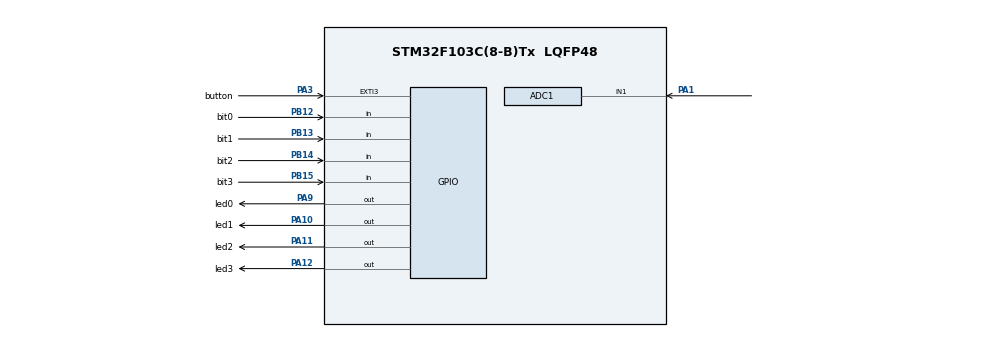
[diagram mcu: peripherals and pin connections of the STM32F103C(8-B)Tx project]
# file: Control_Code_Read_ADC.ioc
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ADC1.Channel-76\#ChannelRegularConversion=ADC_CHANNEL_1
ADC1.Channel-88\#ChannelRegularConversion=ADC_CHANNEL_1
ADC1.Channel-89\#ChannelRegularConversion=ADC_CHANNEL_1
ADC1.ContinuousConvMode=DISABLE
ADC1.DataAlign=ADC_DATAALIGN_RIGHT
ADC1.DiscontinuousConvMode=DISABLE
ADC1.EnableAnalogWatchDog=false
ADC1.EnableRegularConversion=ENABLE
ADC1.ExternalTrigConv=ADC_SOFTWARE_START
ADC1.InjNumberOfConversion=0
ADC1.NbrOfConversion=1
ADC1.NbrOfConversionFlag=1
ADC1.Rank-76\#ChannelRegularConversion=1
ADC1.Rank-88\#ChannelRegularConversion=1
ADC1.Rank-89\#ChannelRegularConversion=1
ADC1.SamplingTime-76\#ChannelRegularConversion=ADC_SAMPLETIME_41CYCLES_5
ADC1.SamplingTime-88\#ChannelRegularConversion=ADC_SAMPLETIME_1CYCLE_5
ADC1.SamplingTime-89\#ChannelRegularConversion=ADC_SAMPLETIME_1CYCLE_5
ADC1.ScanConvMode=ADC_SCAN_DISABLE
ADC1.master=1
Mcu.Family=STM32F1
Mcu.Name=STM32F103C(8-B)Tx
Mcu.Package=LQFP48
NVIC.ADC1_2_IRQn=true\:0\:0\:false\:false\:true\:true
NVIC.EXTI3_IRQn=true\:0\:0\:false\:false\:true\:true
NVIC.PriorityGroup=NVIC_PRIORITYGROUP_4
PA1.Signal=ADCx_IN1
PA10.GPIO_Label=led1
PA10.GPIO_ModeDefaultOutputPP=GPIO_MODE_OUTPUT_PP
PA10.GPIO_Speed=GPIO_SPEED_FREQ_LOW
PA10.PinState=GPIO_PIN_RESET
PA10.Signal=GPIO_Output
PA11.GPIO_Label=led2
PA11.GPIO_ModeDefaultOutputPP=GPIO_MODE_OUTPUT_PP
PA11.GPIO_Speed=GPIO_SPEED_FREQ_LOW
PA11.PinState=GPIO_PIN_RESET
PA11.Signal=GPIO_Output
PA12.GPIO_Label=led3
PA12.GPIO_ModeDefaultOutputPP=GPIO_MODE_OUTPUT_PP
PA12.GPIO_Speed=GPIO_SPEED_FREQ_LOW
PA12.PinState=GPIO_PIN_RESET
PA12.Signal=GPIO_Output
PA13.Mode=Serial_Wire
PA13.Signal=SYS_JTMS-SWDIO
PA14.Mode=Serial_Wire
PA14.Signal=SYS_JTCK-SWCLK
PA3.GPIO_Label=button
PA3.Signal=GPXTI3
PA9.GPIO_Label=led0
PA9.GPIO_ModeDefaultOutputPP=GPIO_MODE_OUTPUT_PP
PA9.GPIO_Speed=GPIO_SPEED_FREQ_LOW
PA9.PinState=GPIO_PIN_RESET
PA9.Signal=GPIO_Output
PB12.GPIO_Label=bit0
PB12.GPIO_Mode=GPIO_MODE_INPUT
PB12.GPIO_PuPd=GPIO_NOPULL
PB12.Signal=GPIO_Input
PB13.GPIO_Label=bit1
PB13.GPIO_Mode=GPIO_MODE_INPUT
PB13.GPIO_PuPd=GPIO_NOPULL
PB13.Signal=GPIO_Input
PB14.GPIO_Label=bit2
PB14.GPIO_Mode=GPIO_MODE_INPUT
PB14.GPIO_PuPd=GPIO_NOPULL
PB14.Signal=GPIO_Input
PB15.GPIO_Label=bit3
PB15.GPIO_Mode=GPIO_MODE_INPUT
PB15.GPIO_PuPd=GPIO_NOPULL
PB15.Signal=GPIO_Input
PD0-OSC_IN.Mode=HSE-External-Oscillator
PD0-OSC_IN.Signal=RCC_OSC_IN
PD1-OSC_OUT.Mode=HSE-External-Oscillator
PD1-OSC_OUT.Signal=RCC_OSC_OUT
ProjectManager.HeapSize=0x200
ProjectManager.StackSize=0x400
ProjectManager.TargetToolchain=MDK-ARM V5
RCC.APB1Freq_Value=8000000
RCC.APB2Freq_Value=8000000
RCC.PLLSourceVirtual=RCC_PLLSOURCE_HSE
RCC.SYSCLKSource=RCC_SYSCLKSOURCE_HSE
RCC.USBFreq_Value=16000000
SH.ADCx_IN1.0=ADC1_IN1,IN1
board=Control_Code_Read_ADC

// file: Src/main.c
/**
  ******************************************************************************
  * File Name          : main.c
  * Description        : Main program body
  ******************************************************************************
  ** This notice applies to any and all portions of this file
  * that are not between comment pairs USER CODE BEGIN and
  * USER CODE END. Other portions of this file, whether
  * inserted by the user or by software development tools
  * are owned by their respective copyright owners.
  *
  * COPYRIGHT(c) 2020 STMicroelectronics
  *
  * Redistribution and use in source and binary forms, with or without modification,
  * are permitted provided that the following conditions are met:
  *   1. Redistributions of source code must retain the above copyright notice,
  *      this list of conditions and the following disclaimer.
  *   2. Redistributions in binary form must reproduce the above copyright notice,
  *      this list of conditions and the following disclaimer in the documentation
  *      and/or other materials provided with the distribution.
  *   3. Neither the name of STMicroelectronics nor the names of its contributors
  *      may be used to endorse or promote products derived from this software
  *      without specific prior written permission.
  *
  * THIS SOFTWARE IS PROVIDED BY THE COPYRIGHT HOLDERS AND CONTRIBUTORS "AS IS"
  * AND ANY EXPRESS OR IMPLIED WARRANTIES, INCLUDING, BUT NOT LIMITED TO, THE
  * IMPLIED WARRANTIES OF MERCHANTABILITY AND FITNESS FOR A PARTICULAR PURPOSE ARE
  * DISCLAIMED. IN NO EVENT SHALL THE COPYRIGHT HOLDER OR CONTRIBUTORS BE LIABLE
  * FOR ANY DIRECT, INDIRECT, INCIDENTAL, SPECIAL, EXEMPLARY, OR CONSEQUENTIAL
  * DAMAGES (INCLUDING, BUT NOT LIMITED TO, PROCUREMENT OF SUBSTITUTE GOODS OR
  * SERVICES; LOSS OF USE, DATA, OR PROFITS; OR BUSINESS INTERRUPTION) HOWEVER
  * CAUSED AND ON ANY THEORY OF LIABILITY, WHETHER IN CONTRACT, STRICT LIABILITY,
  * OR TORT (INCLUDING NEGLIGENCE OR OTHERWISE) ARISING IN ANY WAY OUT OF THE USE
  * OF THIS SOFTWARE, EVEN IF ADVISED OF THE POSSIBILITY OF SUCH DAMAGE.
  *
  ******************************************************************************
  */

#include "main.h"
#include "stm32f1xx_hal.h"

ADC_HandleTypeDef hadc1;

/* USER CODE BEGIN PV */
/* Private variables ---------------------------------------------------------*/
uint8_t isControlCode = 0;
uint8_t isWorkingCode = 0;

uint16_t adcValue;
uint8_t adcValueFourBit;
/* USER CODE END PV */

void SystemClock_Config(void);
static void MX_GPIO_Init(void);
static void MX_ADC1_Init(void);

/* USER CODE BEGIN PFP */
/* Private function prototypes -----------------------------------------------*/
uint8_t adcToFourBit(uint8_t, uint16_t);
GPIO_PinState ledState(uint16_t, uint8_t);
/* USER CODE END PFP */

int main(void)
{

  /* MCU Configuration----------------------------------------------------------*/

  /* Reset of all peripherals, Initializes the Flash interface and the Systick. */
  HAL_Init();

  /* Configure the system clock */
  SystemClock_Config();

  /* Initialize all configured peripherals */
  MX_GPIO_Init();
  MX_ADC1_Init();

  /* Infinite loop */
  /* USER CODE BEGIN WHILE */
  while (1)
  {
		/*
		contol code  -> 1000
		working code -> 1001
		*/

		HAL_ADC_Start_IT(&hadc1);

		if(!isControlCode){
			if (HAL_GPIO_ReadPin(GPIOB, bit0_Pin) == 1 &&
				  HAL_GPIO_ReadPin(GPIOB, bit1_Pin) == 0 &&
					HAL_GPIO_ReadPin(GPIOB, bit2_Pin) == 0 &&
					HAL_GPIO_ReadPin(GPIOB, bit3_Pin) == 0){

					isControlCode = 1;
			}

		} else if (!isWorkingCode){
			HAL_GPIO_TogglePin(GPIOA, led0_Pin | led1_Pin | led2_Pin | led3_Pin);
			HAL_Delay(1000);

			if (HAL_GPIO_ReadPin(GPIOB, bit0_Pin) == 1 &&
				  HAL_GPIO_ReadPin(GPIOB, bit1_Pin) == 0 &&
					HAL_GPIO_ReadPin(GPIOB, bit2_Pin) == 0 &&
					HAL_GPIO_ReadPin(GPIOB, bit3_Pin) == 1){

					isWorkingCode = 1;
			}

		} else{
			adcValueFourBit = adcToFourBit(12, adcValue);
			HAL_GPIO_WritePin(GPIOA, led0_Pin, ledState(adcValueFourBit, 0));
			HAL_GPIO_WritePin(GPIOA, led1_Pin, ledState(adcValueFourBit, 1));
			HAL_GPIO_WritePin(GPIOA, led2_Pin, ledState(adcValueFourBit, 2));
			HAL_GPIO_WritePin(GPIOA, led3_Pin, ledState(adcValueFourBit, 3));

		}

  /* USER CODE END WHILE */

  }

}

/** System Clock Configuration
*/
void SystemClock_Config(void)
{

  RCC_OscInitTypeDef RCC_OscInitStruct;
  RCC_ClkInitTypeDef RCC_ClkInitStruct;
  RCC_PeriphCLKInitTypeDef PeriphClkInit;

    /**Initializes the CPU, AHB and APB busses clocks
    */
  RCC_OscInitStruct.OscillatorType = RCC_OSCILLATORTYPE_HSE;
  RCC_OscInitStruct.HSEState = RCC_HSE_ON;
  RCC_OscInitStruct.PLL.PLLState = RCC_PLL_NONE;
  if (HAL_RCC_OscConfig(&RCC_OscInitStruct) != HAL_OK)
  {
    _Error_Handler(__FILE__, __LINE__);
  }

    /**Initializes the CPU, AHB and APB busses clocks
    */
  RCC_ClkInitStruct.ClockType = RCC_CLOCKTYPE_HCLK|RCC_CLOCKTYPE_SYSCLK
                              |RCC_CLOCKTYPE_PCLK1|RCC_CLOCKTYPE_PCLK2;
  RCC_ClkInitStruct.SYSCLKSource = RCC_SYSCLKSOURCE_HSE;
  RCC_ClkInitStruct.AHBCLKDivider = RCC_SYSCLK_DIV1;
  RCC_ClkInitStruct.APB1CLKDivider = RCC_HCLK_DIV1;
  RCC_ClkInitStruct.APB2CLKDivider = RCC_HCLK_DIV1;

  if (HAL_RCC_ClockConfig(&RCC_ClkInitStruct, FLASH_LATENCY_0) != HAL_OK)
  {
    _Error_Handler(__FILE__, __LINE__);
  }

  PeriphClkInit.PeriphClockSelection = RCC_PERIPHCLK_ADC;
  PeriphClkInit.AdcClockSelection = RCC_ADCPCLK2_DIV2;
  if (HAL_RCCEx_PeriphCLKConfig(&PeriphClkInit) != HAL_OK)
  {
    _Error_Handler(__FILE__, __LINE__);
  }

    /**Configure the Systick interrupt time
    */
  HAL_SYSTICK_Config(HAL_RCC_GetHCLKFreq()/1000);

    /**Configure the Systick
    */
  HAL_SYSTICK_CLKSourceConfig(SYSTICK_CLKSOURCE_HCLK);

  /* SysTick_IRQn interrupt configuration */
  HAL_NVIC_SetPriority(SysTick_IRQn, 0, 0);
}

/* ADC1 init function */
static void MX_ADC1_Init(void)
{

  ADC_ChannelConfTypeDef sConfig;

    /**Common config
    */
  hadc1.Instance = ADC1;
  hadc1.Init.ScanConvMode = ADC_SCAN_DISABLE;
  hadc1.Init.ContinuousConvMode = DISABLE;
  hadc1.Init.DiscontinuousConvMode = DISABLE;
  hadc1.Init.ExternalTrigConv = ADC_SOFTWARE_START;
  hadc1.Init.DataAlign = ADC_DATAALIGN_RIGHT;
  hadc1.Init.NbrOfConversion = 1;
  if (HAL_ADC_Init(&hadc1) != HAL_OK)
  {
    _Error_Handler(__FILE__, __LINE__);
  }

    /**Configure Regular Channel
    */
  sConfig.Channel = ADC_CHANNEL_1;
  sConfig.Rank = 1;
  sConfig.SamplingTime = ADC_SAMPLETIME_1CYCLE_5;
  if (HAL_ADC_ConfigChannel(&hadc1, &sConfig) != HAL_OK)
  {
    _Error_Handler(__FILE__, __LINE__);
  }

    /**Configure Regular Channel
    */
  if (HAL_ADC_ConfigChannel(&hadc1, &sConfig) != HAL_OK)
  {
    _Error_Handler(__FILE__, __LINE__);
  }

    /**Configure Regular Channel
    */
  sConfig.SamplingTime = ADC_SAMPLETIME_41CYCLES_5;
  if (HAL_ADC_ConfigChannel(&hadc1, &sConfig) != HAL_OK)
  {
    _Error_Handler(__FILE__, __LINE__);
  }

}

/** Configure pins as
        * Analog
        * Input
        * Output
        * EVENT_OUT
        * EXTI
*/
static void MX_GPIO_Init(void)
{

  GPIO_InitTypeDef GPIO_InitStruct;

  /* GPIO Ports Clock Enable */
  __HAL_RCC_GPIOD_CLK_ENABLE();
  __HAL_RCC_GPIOA_CLK_ENABLE();
  __HAL_RCC_GPIOB_CLK_ENABLE();

  /*Configure GPIO pin Output Level */
  HAL_GPIO_WritePin(GPIOA, led0_Pin|led1_Pin|led2_Pin|led3_Pin, GPIO_PIN_RESET);

  /*Configure GPIO pin : button_Pin */
  GPIO_InitStruct.Pin = button_Pin;
  GPIO_InitStruct.Mode = GPIO_MODE_IT_RISING;
  GPIO_InitStruct.Pull = GPIO_NOPULL;
  HAL_GPIO_Init(button_GPIO_Port, &GPIO_InitStruct);

  /*Configure GPIO pins : bit0_Pin bit1_Pin bit2_Pin bit3_Pin */
  GPIO_InitStruct.Pin = bit0_Pin|bit1_Pin|bit2_Pin|bit3_Pin;
  GPIO_InitStruct.Mode = GPIO_MODE_INPUT;
  GPIO_InitStruct.Pull = GPIO_NOPULL;
  HAL_GPIO_Init(GPIOB, &GPIO_InitStruct);

  /*Configure GPIO pins : led0_Pin led1_Pin led2_Pin led3_Pin */
  GPIO_InitStruct.Pin = led0_Pin|led1_Pin|led2_Pin|led3_Pin;
  GPIO_InitStruct.Mode = GPIO_MODE_OUTPUT_PP;
  GPIO_InitStruct.Speed = GPIO_SPEED_FREQ_LOW;
  HAL_GPIO_Init(GPIOA, &GPIO_InitStruct);

  /* EXTI interrupt init*/
  HAL_NVIC_SetPriority(EXTI3_IRQn, 0, 0);
  HAL_NVIC_EnableIRQ(EXTI3_IRQn);

}

/* USER CODE BEGIN 4 */
uint8_t adcToFourBit(uint8_t resolution, uint16_t adcValue){
	return 15 * adcValue / ((1 << resolution) - 1);
}

GPIO_PinState ledState(uint16_t adcValue, uint8_t bit){
	return (adcValue & (1 << bit)) != 0 ? GPIO_PIN_SET : GPIO_PIN_RESET;

}
/* USER CODE END 4 */

void _Error_Handler(char * file, int line)
{
  while(1)
  {
  }
}

/************************ (C) COPYRIGHT STMicroelectronics *****END OF FILE****/
